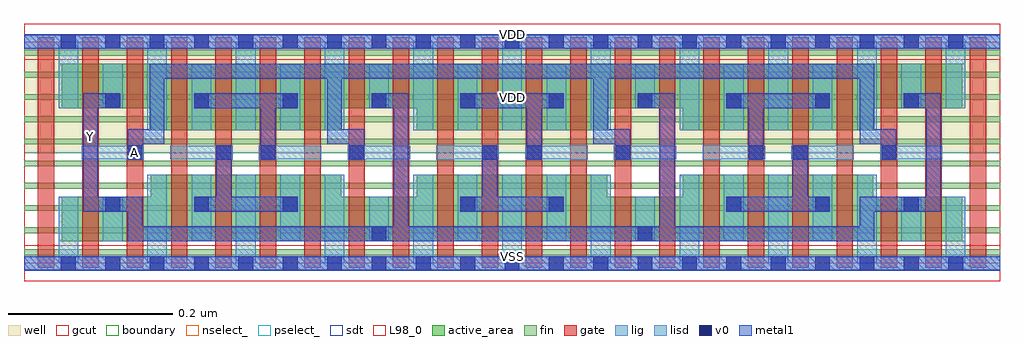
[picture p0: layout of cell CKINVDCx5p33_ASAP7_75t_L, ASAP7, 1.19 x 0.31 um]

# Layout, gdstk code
import gdstk
lib = gdstk.Library(unit=1e-6, precision=2.5e-10)
def R(c, l, rs):  # rectangles x0, y0, x1, y1
    for r in rs: c.add(gdstk.rectangle(r[:2], r[2:], *l))
def A(c, l, x, y, w, h, nx, ny, dx, dy):  # array of equal rectangles
    R(c, l, [(x+i*dx, y+j*dy, x+i*dx+w, y+j*dy+h) for i in range(nx) for j in range(ny)])
def P(c, l, *ps):  # polygons
    for p in ps: c.add(gdstk.Polygon(p, *l))
well = (1, 0)
fin = (2, 0)
gate = (7, 0)
gcut = (10, 0)
active_area = (11, 0)
nselect_ = (12, 0)
pselect_ = (13, 0)
lig = (16, 0)
lisd = (17, 0)
v0 = (18, 0)
metal1 = (19, 0)
sdt = (88, 0)
L98_0 = (98, 0)
boundary = (100, 0)

ckinvdcx5p33_asap7_75t_l = lib.new_cell('CKINVDCx5p33_ASAP7_75t_L')
R(ckinvdcx5p33_asap7_75t_l, well, [(0,0.135,1.188,0.27)])
A(ckinvdcx5p33_asap7_75t_l, fin, 0, 0.01, 1.188, 0.007, 1, 10, 0, 0.027)
A(ckinvdcx5p33_asap7_75t_l, gate, 0.017, -0.005, 0.02, 0.28, 22, 1, 0.054, 0)
R(ckinvdcx5p33_asap7_75t_l, gcut, [(0,-0.022,1.188,0.022), (0,0.248,1.188,0.292)])
P(ckinvdcx5p33_asap7_75t_l, active_area, [(1.034,0.108),(0.802,0.108),(0.802,0.081),(0.71,0.081),(0.71,0.108),(0.478,0.108),(0.478,0.081),(0.386,0.081),(0.386,0.108),(0.154,0.108),(0.154,0.081),(0.046,0.081),(0.046,0.027),(1.142,0.027),(1.142,0.081),(1.034,0.081)],
  [(1.142,0.243),(0.046,0.243),(0.046,0.189),(0.154,0.189),(0.154,0.162),(0.386,0.162),(0.386,0.189),(0.478,0.189),(0.478,0.162),(0.71,0.162),(0.71,0.189),(0.802,0.189),(0.802,0.162),(1.034,0.162),(1.034,0.189),(1.142,0.189)])
R(ckinvdcx5p33_asap7_75t_l, nselect_, [(0,0,1.188,0.135)])
R(ckinvdcx5p33_asap7_75t_l, pselect_, [(0,0.135,1.188,0.27)])
A(ckinvdcx5p33_asap7_75t_l, lig, 0.286, 0.126, 0.022, 0.018, 3, 1, 0.108, 0)
A(ckinvdcx5p33_asap7_75t_l, lig, 0.07, 0.127, 0.076, 0.016, 10, 1, 0.108, 0)
R(ckinvdcx5p33_asap7_75t_l, lig, [(0,-0.008,1.188,0.008), (0.124,0.126,0.146,0.144), (0.232,0.126,0.254,0.144), (0.664,0.126,0.686,0.144), (0.718,0.126,0.74,0.144), (0.826,0.126,0.848,0.144), (0.988,0.126,1.01,0.144), (1.042,0.126,1.064,0.144), (0,0.262,1.188,0.278)])
A(ckinvdcx5p33_asap7_75t_l, lisd, 0.096, 0.027, 0.024, 0.054, 4, 2, 0.324, 0.162)
R(ckinvdcx5p33_asap7_75t_l, lisd, [(0.042,0,0.066,0.081), (0.042,0,0.066,0.081), (0.15,0,0.174,0.108), (0.15,0,0.174,0.108), (0.258,0,0.282,0.108), (0.258,0,0.282,0.108), (0.366,0,0.39,0.108), (0.366,0,0.39,0.108), (0.474,0,0.498,0.108), (0.474,0,0.498,0.108), (0.582,0,0.606,0.108), (0.582,0,0.606,0.108), (0.69,0,0.714,0.108), (0.69,0,0.714,0.108), (0.798,0,0.822,0.108), (0.798,0,0.822,0.108), (0.906,0,0.93,0.108), (0.906,0,0.93,0.108), (1.014,0,1.038,0.108), (1.014,0,1.038,0.108), (1.122,0,1.146,0.081), (1.122,0,1.146,0.081), (0.204,0.027,0.228,0.108), (0.312,0.027,0.336,0.108), (0.528,0.027,0.552,0.108), (0.636,0.027,0.66,0.108), (0.852,0.027,0.876,0.108), (0.96,0.027,0.984,0.108), (0.15,0.162,0.174,0.27), (0.15,0.162,0.174,0.27), (0.204,0.162,0.228,0.243), (0.258,0.162,0.282,0.27), (0.258,0.162,0.282,0.27), (0.312,0.162,0.336,0.243), (0.366,0.162,0.39,0.27), (0.366,0.162,0.39,0.27), (0.474,0.162,0.498,0.27), (0.474,0.162,0.498,0.27), (0.528,0.162,0.552,0.243), (0.582,0.162,0.606,0.27), (0.582,0.162,0.606,0.27), (0.636,0.162,0.66,0.243), (0.69,0.162,0.714,0.27), (0.69,0.162,0.714,0.27), (0.798,0.162,0.822,0.27), (0.798,0.162,0.822,0.27), (0.852,0.162,0.876,0.243), (0.906,0.162,0.93,0.27), (0.906,0.162,0.93,0.27), (0.96,0.162,0.984,0.243), (1.014,0.162,1.038,0.27), (1.014,0.162,1.038,0.27), (0.042,0.189,0.066,0.27), (0.042,0.189,0.066,0.27), (1.122,0.189,1.146,0.27), (1.122,0.189,1.146,0.27)])
A(ckinvdcx5p33_asap7_75t_l, v0, 0.045, -0.009, 0.018, 0.018, 21, 2, 0.054, 0.27)
A(ckinvdcx5p33_asap7_75t_l, v0, 0.099, 0.063, 0.018, 0.018, 3, 1, 0.108, 0)
A(ckinvdcx5p33_asap7_75t_l, v0, 0.855, 0.063, 0.018, 0.018, 3, 1, 0.108, 0)
A(ckinvdcx5p33_asap7_75t_l, v0, 0.099, 0.189, 0.018, 0.018, 10, 1, 0.108, 0)
R(ckinvdcx5p33_asap7_75t_l, v0, [(0.423,0.027,0.441,0.045), (0.747,0.027,0.765,0.045), (0.531,0.063,0.549,0.081), (0.639,0.063,0.657,0.081), (0.126,0.126,0.144,0.144), (0.234,0.126,0.252,0.144), (0.288,0.126,0.306,0.144), (0.396,0.126,0.414,0.144), (0.558,0.126,0.576,0.144), (0.612,0.126,0.63,0.144), (0.72,0.126,0.738,0.144), (0.882,0.126,0.9,0.144), (0.936,0.126,0.954,0.144), (1.044,0.126,1.062,0.144)])
A(ckinvdcx5p33_asap7_75t_l, metal1, 0.099, 0.063, 0.018, 0.018, 3, 1, 0.108, 0)
A(ckinvdcx5p33_asap7_75t_l, metal1, 0.855, 0.063, 0.018, 0.018, 3, 1, 0.108, 0)
A(ckinvdcx5p33_asap7_75t_l, metal1, 0.099, 0.189, 0.018, 0.018, 10, 1, 0.108, 0)
R(ckinvdcx5p33_asap7_75t_l, metal1, [(0,-0.009,1.188,0.009), (0.423,0.027,0.441,0.045), (0.747,0.027,0.765,0.045), (0.531,0.063,0.549,0.081), (0.639,0.063,0.657,0.081), (0.126,0.126,0.144,0.144), (0.234,0.126,0.252,0.144), (0.288,0.126,0.306,0.144), (0.396,0.126,0.414,0.144), (0.558,0.126,0.576,0.144), (0.612,0.126,0.63,0.144), (0.72,0.126,0.738,0.144), (0.882,0.126,0.9,0.144), (0.936,0.126,0.954,0.144), (1.044,0.126,1.062,0.144), (0,0.261,1.188,0.279)])
P(ckinvdcx5p33_asap7_75t_l, metal1, [(1.044,0.126),(1.062,0.126),(1.062,0.163),(1.035,0.163),(1.035,0.243),(0.153,0.243),(0.153,0.163),(0.126,0.163),(0.126,0.126),(0.144,0.126),(0.144,0.145),(0.171,0.145),(0.171,0.225),(0.369,0.225),(0.369,0.145),(0.396,0.145),(0.396,0.126),(0.414,0.126),(0.414,0.163),(0.387,0.163),(0.387,0.225),(0.693,0.225),(0.693,0.145),(0.72,0.145),(0.72,0.126),(0.738,0.126),(0.738,0.163),(0.711,0.163),(0.711,0.225),(1.017,0.225),(1.017,0.145),(1.044,0.145)],
  [(1.071,0.207),(1.071,0.189),(1.098,0.189),(1.098,0.081),(1.017,0.081),(1.017,0.045),(0.792,0.045),(0.792,0.207),(0.747,0.207),(0.747,0.189),(0.774,0.189),(0.774,0.045),(0.468,0.045),(0.468,0.207),(0.423,0.207),(0.423,0.189),(0.45,0.189),(0.45,0.045),(0.144,0.045),(0.144,0.081),(0.09,0.081),(0.09,0.189),(0.117,0.189),(0.117,0.207),(0.072,0.207),(0.072,0.063),(0.126,0.063),(0.126,0.027),(1.035,0.027),(1.035,0.063),(1.116,0.063),(1.116,0.207)],
  [(0.252,0.144),(0.234,0.144),(0.234,0.081),(0.207,0.081),(0.207,0.063),(0.333,0.063),(0.333,0.081),(0.252,0.081)],
  [(0.207,0.189),(0.288,0.189),(0.288,0.126),(0.306,0.126),(0.306,0.189),(0.333,0.189),(0.333,0.207),(0.207,0.207)],
  [(0.576,0.144),(0.558,0.144),(0.558,0.081),(0.531,0.081),(0.531,0.063),(0.657,0.063),(0.657,0.081),(0.576,0.081)],
  [(0.531,0.189),(0.612,0.189),(0.612,0.126),(0.63,0.126),(0.63,0.189),(0.657,0.189),(0.657,0.207),(0.531,0.207)],
  [(0.981,0.207),(0.855,0.207),(0.855,0.189),(0.882,0.189),(0.882,0.126),(0.9,0.126),(0.9,0.189),(0.981,0.189)],
  [(0.981,0.081),(0.954,0.081),(0.954,0.144),(0.936,0.144),(0.936,0.081),(0.855,0.081),(0.855,0.063),(0.981,0.063)])
A(ckinvdcx5p33_asap7_75t_l, sdt, 0.096, 0.027, 0.024, 0.054, 4, 2, 0.324, 0.162)
A(ckinvdcx5p33_asap7_75t_l, sdt, 0.15, 0.027, 0.024, 0.081, 3, 2, 0.054, 0.135)
A(ckinvdcx5p33_asap7_75t_l, sdt, 0.258, 0.027, 0.024, 0.081, 3, 2, 0.054, 0.135)
A(ckinvdcx5p33_asap7_75t_l, sdt, 0.474, 0.027, 0.024, 0.081, 3, 2, 0.054, 0.135)
A(ckinvdcx5p33_asap7_75t_l, sdt, 0.582, 0.027, 0.024, 0.081, 3, 2, 0.054, 0.135)
A(ckinvdcx5p33_asap7_75t_l, sdt, 0.798, 0.027, 0.024, 0.081, 3, 2, 0.054, 0.135)
A(ckinvdcx5p33_asap7_75t_l, sdt, 0.906, 0.027, 0.024, 0.081, 3, 2, 0.054, 0.135)
R(ckinvdcx5p33_asap7_75t_l, sdt, [(0.042,0.027,0.066,0.081), (0.042,0.027,0.066,0.081), (0.15,0.027,0.174,0.108), (0.366,0.027,0.39,0.108), (0.474,0.027,0.498,0.108), (0.69,0.027,0.714,0.108), (0.798,0.027,0.822,0.108), (1.014,0.027,1.038,0.108), (1.122,0.027,1.146,0.081), (1.122,0.027,1.146,0.081), (0.15,0.162,0.174,0.243), (0.366,0.162,0.39,0.243), (0.474,0.162,0.498,0.243), (0.69,0.162,0.714,0.243), (0.798,0.162,0.822,0.243), (1.014,0.162,1.038,0.243), (0.042,0.189,0.066,0.243), (0.042,0.189,0.066,0.243), (1.122,0.189,1.146,0.243), (1.122,0.189,1.146,0.243)])
R(ckinvdcx5p33_asap7_75t_l, L98_0, [(0,0,1.188,0.27)])
R(ckinvdcx5p33_asap7_75t_l, boundary, [(0,0,1.188,0.27)])
ckinvdcx5p33_asap7_75t_l.add(gdstk.Label('VDD', (0.594,0.2025), layer=1, texttype=251))
ckinvdcx5p33_asap7_75t_l.add(gdstk.Label('VSS', (0.594,-0.0675), layer=3, texttype=251))
ckinvdcx5p33_asap7_75t_l.add(gdstk.Label('VSS', (0.594,0.009), layer=19, texttype=251))
ckinvdcx5p33_asap7_75t_l.add(gdstk.Label('VDD', (0.594,0.279), layer=19, texttype=251))
ckinvdcx5p33_asap7_75t_l.add(gdstk.Label('A', (0.135,0.135), layer=19, texttype=251))
ckinvdcx5p33_asap7_75t_l.add(gdstk.Label('Y', (0.081,0.154), layer=19, texttype=251))

lib.write_gds('CKINVDCx5p33_ASAP7_75t_L.gds')
